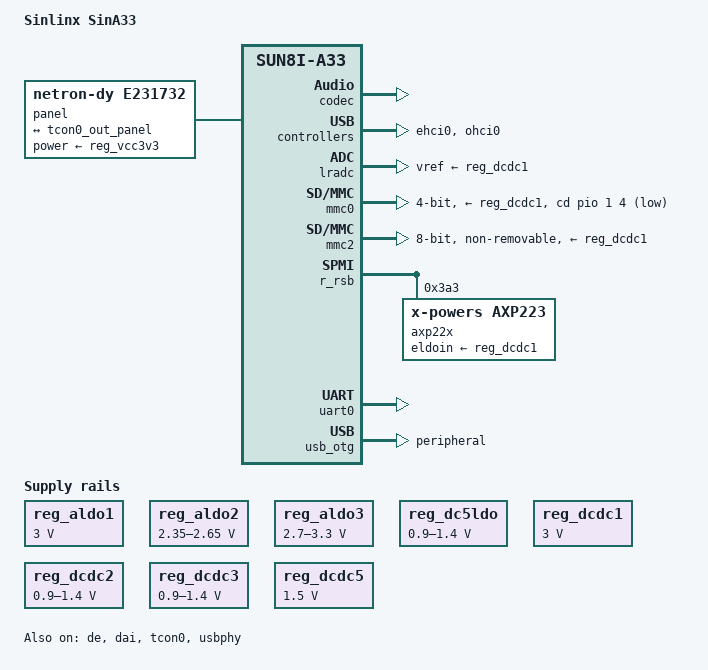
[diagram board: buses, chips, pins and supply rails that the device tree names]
FASTVC-BENCH-CORPUS:linux-main-100k-v1-e0bd41dc-8e12-4f1b-978d-a3645ae59da0
/*
 * Copyright 2015 Chen-Yu Tsai
 *
 * Chen-Yu Tsai <wens@csie.org>
 *
 * This file is dual-licensed: you can use it either under the terms
 * of the GPL or the X11 license, at your option. Note that this dual
 * licensing only applies to this file, and not this project as a
 * whole.
 *
 *  a) This file is free software; you can redistribute it and/or
 *     modify it under the terms of the GNU General Public License as
 *     published by the Free Software Foundation; either version 2 of the
 *     License, or (at your option) any later version.
 *
 *     This file is distributed in the hope that it will be useful,
 *     but WITHOUT ANY WARRANTY; without even the implied warranty of
 *     MERCHANTABILITY or FITNESS FOR A PARTICULAR PURPOSE.  See the
 *     GNU General Public License for more details.
 *
 * Or, alternatively,
 *
 *  b) Permission is hereby granted, free of charge, to any person
 *     obtaining a copy of this software and associated documentation
 *     files (the "Software"), to deal in the Software without
 *     restriction, including without limitation the rights to use,
 *     copy, modify, merge, publish, distribute, sublicense, and/or
 *     sell copies of the Software, and to permit persons to whom the
 *     Software is furnished to do so, subject to the following
 *     conditions:
 *
 *     The above copyright notice and this permission notice shall be
 *     included in all copies or substantial portions of the Software.
 *
 *     THE SOFTWARE IS PROVIDED "AS IS", WITHOUT WARRANTY OF ANY KIND,
 *     EXPRESS OR IMPLIED, INCLUDING BUT NOT LIMITED TO THE WARRANTIES
 *     OF MERCHANTABILITY, FITNESS FOR A PARTICULAR PURPOSE AND
 *     NONINFRINGEMENT. IN NO EVENT SHALL THE AUTHORS OR COPYRIGHT
 *     HOLDERS BE LIABLE FOR ANY CLAIM, DAMAGES OR OTHER LIABILITY,
 *     WHETHER IN AN ACTION OF CONTRACT, TORT OR OTHERWISE, ARISING
 *     FROM, OUT OF OR IN CONNECTION WITH THE SOFTWARE OR THE USE OR
 *     OTHER DEALINGS IN THE SOFTWARE.
 */

/dts-v1/;
#include "sun8i-a33.dtsi"
#include "sunxi-common-regulators.dtsi"

#include <dt-bindings/gpio/gpio.h>
#include <dt-bindings/input/input.h>

/ {
	model = "Sinlinx SinA33";
	compatible = "sinlinx,sina33", "allwinner,sun8i-a33";

	aliases {
		serial0 = &uart0;
	};

	chosen {
		stdout-path = "serial0:115200n8";
	};

	panel {
		compatible = "netron-dy,e231732";
		power-supply = <&reg_vcc3v3>;

		port {
			panel_input: endpoint {
				remote-endpoint = <&tcon0_out_panel>;
			};
		};
	};
};

&codec {
	status = "okay";
};

&cpu0 {
	cpu-supply = <&reg_dcdc3>;
};

&cpu0_opp_table {
	opp-1104000000 {
		opp-hz = /bits/ 64 <1104000000>;
		opp-microvolt = <1320000>;
		clock-latency-ns = <244144>; /* 8 32k periods */
	};

	opp-1200000000 {
		opp-hz = /bits/ 64 <1200000000>;
		opp-microvolt = <1320000>;
		clock-latency-ns = <244144>; /* 8 32k periods */
	};
};

&de {
	status = "okay";
};

&dai {
	status = "okay";
};

&ehci0 {
	status = "okay";
};

&lradc {
	vref-supply = <&reg_dcdc1>;
	status = "okay";

	button-200 {
		label = "Volume Up";
		linux,code = <KEY_VOLUMEUP>;
		channel = <0>;
		voltage = <191011>;
	};

	button-400 {
		label = "Volume Down";
		linux,code = <KEY_VOLUMEDOWN>;
		channel = <0>;
		voltage = <391304>;
	};

	button-600 {
		label = "Home";
		linux,code = <KEY_HOME>;
		channel = <0>;
		voltage = <600000>;
	};
};

&mmc0 {
	vmmc-supply = <&reg_dcdc1>;
	bus-width = <4>;
	cd-gpios = <&pio 1 4 GPIO_ACTIVE_LOW>; /* PB4 */
	status = "okay";
};

&mmc2 {
	pinctrl-names = "default";
	pinctrl-0 = <&mmc2_8bit_pins>;
	vmmc-supply = <&reg_dcdc1>;
	bus-width = <8>;
	non-removable;
	cap-mmc-hw-reset;
	status = "okay";
};

&mmc2_8bit_pins {
	/* Increase drive strength for DDR modes */
	drive-strength = <40>;
};

&ohci0 {
	status = "okay";
};

&r_rsb {
	status = "okay";

	axp22x: pmic@3a3 {
		compatible = "x-powers,axp223";
		reg = <0x3a3>;
		interrupt-parent = <&r_intc>;
		interrupts = <0 IRQ_TYPE_LEVEL_LOW>;
		eldoin-supply = <&reg_dcdc1>;
	};
};

#include "axp223.dtsi"

&ac_power_supply {
	status = "okay";
};

&battery_power_supply {
	status = "okay";
};

&reg_aldo1 {
	regulator-always-on;
	regulator-min-microvolt = <3000000>;
	regulator-max-microvolt = <3000000>;
	regulator-name = "vcc-io";
};

&reg_aldo2 {
	regulator-always-on;
	regulator-min-microvolt = <2350000>;
	regulator-max-microvolt = <2650000>;
	regulator-name = "vdd-dll";
};

&reg_aldo3 {
	regulator-always-on;
	regulator-min-microvolt = <2700000>;
	regulator-max-microvolt = <3300000>;
	regulator-name = "vcc-pll-avcc";
};

&reg_dc5ldo {
	regulator-always-on;
	regulator-min-microvolt = <900000>;
	regulator-max-microvolt = <1400000>;
/* bench 8537.0.0 65635a4b8da7 */
/* bench 8537.0.1 2e9813dc060e */
/* bench 8537.0.2 a9532af76747 */
/* bench 8537.0.3 ca4a7be14504 */
/* bench 8537.0.4 15f87322bb86 */
/* bench 8537.0.5 55ed316fd386 */
/* bench 8537.0.6 39282664648b */
/* bench 8537.0.7 fcb00f955a13 */
/* bench 8537.0.8 7ac7bbd10c78 */
/* bench 8537.0.9 602899954a73 */
/* bench 8537.0.10 c6f4caf25d04 */
};

&reg_dcdc1 {
	regulator-always-on;
	regulator-min-microvolt = <3000000>;
	regulator-max-microvolt = <3000000>;
	regulator-name = "vcc-3v0";
};

&reg_dcdc2 {
	regulator-always-on;
	regulator-min-microvolt = <900000>;
	regulator-max-microvolt = <1400000>;
	regulator-name = "vdd-sys";
};

&reg_dcdc3 {
	regulator-always-on;
	regulator-min-microvolt = <900000>;
	regulator-max-microvolt = <1400000>;
	regulator-name = "vdd-cpu";
};

&reg_dcdc5 {
	regulator-always-on;
	regulator-min-microvolt = <1500000>;
	regulator-max-microvolt = <1500000>;
	regulator-name = "vcc-dram";
};

&reg_rtc_ldo {
	regulator-name = "vcc-rtc";
};

&sound {
	status = "okay";
};

&tcon0 {
	pinctrl-names = "default";
	pinctrl-0 = <&lcd_rgb666_pins>;
	status = "okay";
};

&tcon0_out {
	tcon0_out_panel: endpoint@0 {
		reg = <0>;
		remote-endpoint = <&panel_input>;
	};
};

&uart0 {
	pinctrl-names = "default";
	pinctrl-0 = <&uart0_pb_pins>;
	status = "okay";
};

&usb_otg {
	dr_mode = "peripheral";
	status = "okay";
};

&usbphy {
	status = "okay";
/* bench 12904.3.0 4cc988c23213 */
/* bench 12904.3.1 9ce1ae30278a */
/* bench 12904.3.2 b651c3ed877a */
/* bench 12904.3.3 538529303aa0 */
/* bench 12904.3.4 c782fb57f8cf */
};
